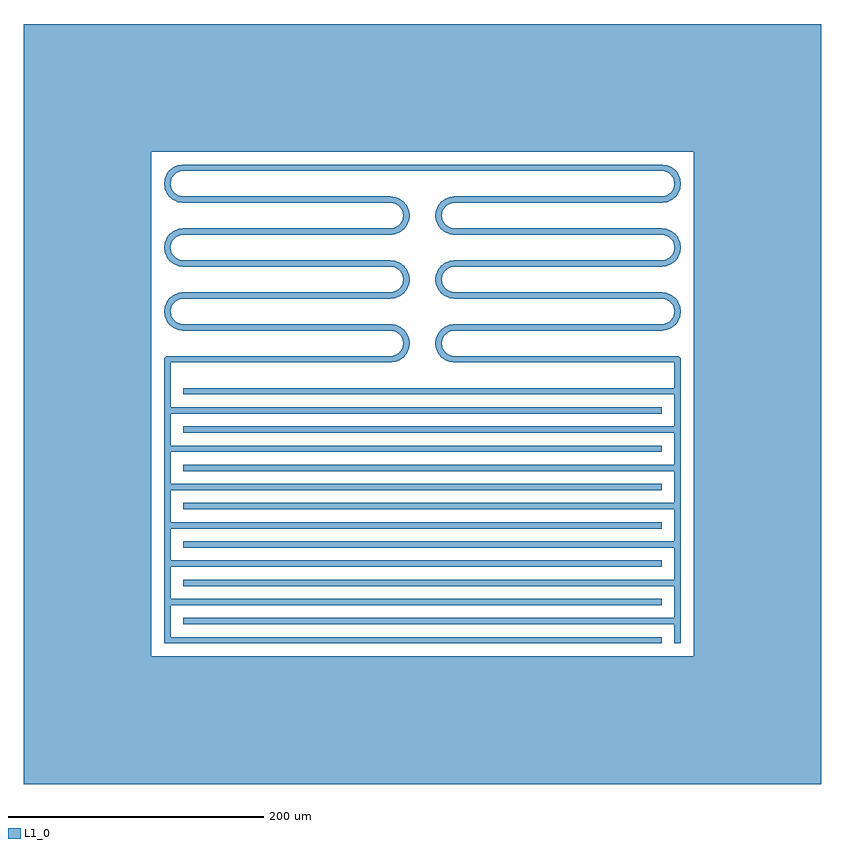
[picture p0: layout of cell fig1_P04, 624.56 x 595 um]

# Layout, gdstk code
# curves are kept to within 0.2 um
import gdstk
lib = gdstk.Library(unit=1e-6, precision=1e-09)
def R(c, l, rs):  # rectangles x0, y0, x1, y1
    for r in rs: c.add(gdstk.rectangle(r[:2], r[2:], *l))
def A(c, l, x, y, w, h, nx, ny, dx, dy):  # array of equal rectangles
    R(c, l, [(x+i*dx, y+j*dy, x+i*dx+w, y+j*dy+h) for i in range(nx) for j in range(ny)])
def P(c, l, *ps):  # polygons
    for p in ps: c.add(gdstk.Polygon(p, *l))
L1_0 = (1, 0)

fig1_p04 = lib.new_cell('fig1_P04')
A(fig1_p04, L1_0, -202.28, 0, 389.56, 5, 1, 7, 0, 30)
A(fig1_p04, L1_0, -187.28, 15, 389.56, 5, 1, 7, 0, 30)
A(fig1_p04, L1_0, -187.28, 245, 162.28, 5, 1, 5, 0, 25)
A(fig1_p04, L1_0, 25, 245, 162.28, 5, 1, 5, 0, 25)
R(fig1_p04, L1_0, [(-312.28,-110,312.28,-10), (-312.28,-10,-212.28,385), (212.28,-10,312.28,385), (-202.28,0,-197.28,200), (197.28,0,202.28,200), (-202.28,197.5,-197.28,222.5), (197.28,197.5,202.28,222.5), (-199.78,220,-25,225), (25,220,199.78,225), (-187.28,370,187.28,375), (-312.28,385,312.28,485)])
P(fig1_p04, L1_0, [(14.979,334.674),(10.021,335.326),(10.447,338.562),(15.405,337.909)],
  [(12.926,335.735),(11.158,336.467),(10.426,338.235),(11.158,340.003),(12.926,340.735),(14.694,340.003),(15.426,338.235),(14.694,336.467)],
  [(12.5,332.5),(10.732,333.232),(10,335),(10.732,336.768),(12.5,337.5),(14.268,336.768),(15,335),(14.268,333.232)],
  [(195.052,347.191),(192.008,351.158),(194.597,353.145),(197.641,349.178)],
  [(191.472,345.616),(189.559,350.236),(192.573,351.484),(194.487,346.865)],
  [(187.606,345.021),(186.954,349.979),(190.189,350.405),(190.842,345.447)],
  [(190.189,369.595),(186.954,370.021),(187.606,374.979),(190.842,374.553)],
  [(192.573,368.516),(189.559,369.764),(191.472,374.384),(194.487,373.135)],
  [(194.597,366.855),(192.008,368.842),(195.052,372.809),(197.641,370.822)],
  [(196.122,364.728),(194.135,367.317),(198.102,370.361),(200.089,367.772)],
  [(197.044,362.279),(195.796,365.293),(200.415,367.207),(201.664,364.192)],
  [(197.301,359.674),(196.875,362.909),(201.833,363.562),(202.259,360.326)],
  [(201.833,356.438),(196.875,357.091),(197.301,360.326),(202.259,359.674)],
  [(187.28,370),(185.512,370.732),(184.78,372.5),(185.512,374.268),(187.28,375),(189.048,374.268),(189.78,372.5),(189.048,370.732)],
  [(190.515,369.574),(188.747,370.306),(188.015,372.074),(188.747,373.842),(190.515,374.574),(192.283,373.842),(193.015,372.074),(192.283,370.306)],
  [(193.53,368.325),(191.762,369.058),(191.03,370.825),(191.762,372.593),(193.53,373.325),(195.298,372.593),(196.03,370.825),(195.298,369.058)],
  [(196.119,366.339),(194.351,367.071),(193.619,368.839),(194.351,370.607),(196.119,371.339),(197.887,370.607),(198.619,368.839),(197.887,367.071)],
  [(198.105,363.75),(196.338,364.482),(195.605,366.25),(196.338,368.018),(198.105,368.75),(199.873,368.018),(200.605,366.25),(199.873,364.482)],
  [(199.354,360.735),(197.586,361.467),(196.854,363.235),(197.586,365.003),(199.354,365.735),(201.122,365.003),(201.854,363.235),(201.122,361.467)],
  [(199.78,357.5),(198.012,358.232),(197.28,360),(198.012,361.768),(199.78,362.5),(201.548,361.768),(202.28,360),(201.548,358.232)],
  [(199.354,354.265),(197.586,354.997),(196.854,356.765),(197.586,358.533),(199.354,359.265),(201.122,358.533),(201.854,356.765),(201.122,354.997)],
  [(198.105,351.25),(196.338,351.982),(195.605,353.75),(196.338,355.518),(198.105,356.25),(199.873,355.518),(200.605,353.75),(199.873,351.982)],
  [(196.119,348.661),(194.351,349.393),(193.619,351.161),(194.351,352.929),(196.119,353.661),(197.887,352.929),(198.619,351.161),(197.887,349.393)],
  [(193.53,346.675),(191.762,347.407),(191.03,349.175),(191.762,350.942),(193.53,351.675),(195.298,350.942),(196.03,349.175),(195.298,347.407)],
  [(190.515,345.426),(188.747,346.158),(188.015,347.926),(188.747,349.694),(190.515,350.426),(192.283,349.694),(193.015,347.926),(192.283,346.158)],
  [(187.28,345),(185.512,345.732),(184.78,347.5),(185.512,349.268),(187.28,350),(189.048,349.268),(189.78,347.5),(189.048,345.732)],
  [(200.415,352.793),(195.796,354.707),(197.044,357.721),(201.664,355.808)],
  [(198.102,349.639),(194.135,352.683),(196.122,355.272),(200.089,352.228)],
  [(19.707,343.516),(17.793,348.135),(20.808,349.384),(22.721,344.764)],
  [(17.683,341.855),(14.639,345.822),(17.228,347.809),(20.272,343.842)],
  [(16.158,339.728),(12.191,342.772),(14.178,345.361),(18.145,342.317)],
  [(25,345),(23.232,345.732),(22.5,347.5),(23.232,349.268),(25,350),(26.768,349.268),(27.5,347.5),(26.768,345.732)],
  [(21.765,344.574),(19.997,345.306),(19.265,347.074),(19.997,348.842),(21.765,349.574),(23.533,348.842),(24.265,347.074),(23.533,345.306)],
  [(18.75,343.325),(16.982,344.058),(16.25,345.825),(16.982,347.593),(18.75,348.325),(20.518,347.593),(21.25,345.825),(20.518,344.058)],
  [(16.161,341.339),(14.393,342.071),(13.661,343.839),(14.393,345.607),(16.161,346.339),(17.929,345.607),(18.661,343.839),(17.929,342.071)],
  [(14.175,338.75),(12.407,339.482),(11.675,341.25),(12.407,343.018),(14.175,343.75),(15.942,343.018),(16.675,341.25),(15.942,339.482)],
  [(15.236,337.279),(10.616,339.192),(11.865,342.207),(16.484,340.293)],
  [(22.091,344.595),(21.438,349.553),(24.674,349.979),(25.326,345.021)],
  [(16.158,239.728),(12.191,242.772),(14.178,245.361),(18.145,242.317)],
  [(15.236,237.279),(10.616,239.192),(11.865,242.207),(16.484,240.293)],
  [(14.979,234.674),(10.021,235.326),(10.447,238.562),(15.405,237.909)],
  [(10.447,231.438),(10.021,234.674),(14.979,235.326),(15.405,232.091)],
  [(11.865,227.793),(10.616,230.808),(15.236,232.721),(16.484,229.707)],
  [(14.178,224.639),(12.191,227.228),(16.158,230.272),(18.145,227.683)],
  [(17.228,222.191),(14.639,224.178),(17.683,228.145),(20.272,226.158)],
  [(20.808,220.616),(17.793,221.865),(19.707,226.484),(22.721,225.236)],
  [(24.674,220.021),(21.438,220.447),(22.091,225.405),(25.326,224.979)],
  [(20.808,320.616),(17.793,321.865),(19.707,326.484),(22.721,325.236)],
  [(24.674,320.021),(21.438,320.447),(22.091,325.405),(25.326,324.979)],
  [(10.447,331.438),(10.021,334.674),(14.979,335.326),(15.405,332.091)],
  [(11.865,327.793),(10.616,330.808),(15.236,332.721),(16.484,329.707)],
  [(22.091,294.595),(21.438,299.553),(24.674,299.979),(25.326,295.021)],
  [(19.707,293.516),(17.793,298.135),(20.808,299.384),(22.721,294.764)],
  [(17.683,291.855),(14.639,295.822),(17.228,297.809),(20.272,293.842)],
  [(16.158,289.728),(12.191,292.772),(14.178,295.361),(18.145,292.317)],
  [(15.236,287.279),(10.616,289.192),(11.865,292.207),(16.484,290.293)],
  [(14.979,284.674),(10.021,285.326),(10.447,288.562),(15.405,287.909)],
  [(10.447,281.438),(10.021,284.674),(14.979,285.326),(15.405,282.091)],
  [(11.865,277.793),(10.616,280.808),(15.236,282.721),(16.484,279.707)],
  [(14.178,274.639),(12.191,277.228),(16.158,280.272),(18.145,277.683)],
  [(17.228,272.191),(14.639,274.178),(17.683,278.145),(20.272,276.158)],
  [(20.808,270.616),(17.793,271.865),(19.707,276.484),(22.721,275.236)],
  [(24.674,270.021),(21.438,270.447),(22.091,275.405),(25.326,274.979)],
  [(14.178,324.639),(12.191,327.228),(16.158,330.272),(18.145,327.683)],
  [(17.228,322.191),(14.639,324.178),(17.683,328.145),(20.272,326.158)],
  [(22.091,244.595),(21.438,249.553),(24.674,249.979),(25.326,245.021)],
  [(19.707,243.516),(17.793,248.135),(20.808,249.384),(22.721,244.764)],
  [(17.683,241.855),(14.639,245.822),(17.228,247.809),(20.272,243.842)],
  [(12.926,329.265),(11.158,329.997),(10.426,331.765),(11.158,333.533),(12.926,334.265),(14.694,333.533),(15.426,331.765),(14.694,329.997)],
  [(14.175,326.25),(12.407,326.982),(11.675,328.75),(12.407,330.518),(14.175,331.25),(15.942,330.518),(16.675,328.75),(15.942,326.982)],
  [(16.161,323.661),(14.393,324.393),(13.661,326.161),(14.393,327.929),(16.161,328.661),(17.929,327.929),(18.661,326.161),(17.929,324.393)],
  [(18.75,321.675),(16.982,322.407),(16.25,324.175),(16.982,325.942),(18.75,326.675),(20.518,325.942),(21.25,324.175),(20.518,322.407)],
  [(21.765,320.426),(19.997,321.158),(19.265,322.926),(19.997,324.694),(21.765,325.426),(23.533,324.694),(24.265,322.926),(23.533,321.158)],
  [(25,320),(23.232,320.732),(22.5,322.5),(23.232,324.268),(25,325),(26.768,324.268),(27.5,322.5),(26.768,320.732)],
  [(25,295),(23.232,295.732),(22.5,297.5),(23.232,299.268),(25,300),(26.768,299.268),(27.5,297.5),(26.768,295.732)],
  [(21.765,294.574),(19.997,295.306),(19.265,297.074),(19.997,298.842),(21.765,299.574),(23.533,298.842),(24.265,297.074),(23.533,295.306)],
  [(18.75,293.325),(16.982,294.058),(16.25,295.825),(16.982,297.593),(18.75,298.325),(20.518,297.593),(21.25,295.825),(20.518,294.058)],
  [(16.161,291.339),(14.393,292.071),(13.661,293.839),(14.393,295.607),(16.161,296.339),(17.929,295.607),(18.661,293.839),(17.929,292.071)],
  [(14.175,288.75),(12.407,289.482),(11.675,291.25),(12.407,293.018),(14.175,293.75),(15.942,293.018),(16.675,291.25),(15.942,289.482)],
  [(12.926,285.735),(11.158,286.467),(10.426,288.235),(11.158,290.003),(12.926,290.735),(14.694,290.003),(15.426,288.235),(14.694,286.467)],
  [(12.5,282.5),(10.732,283.232),(10,285),(10.732,286.768),(12.5,287.5),(14.268,286.768),(15,285),(14.268,283.232)],
  [(12.926,279.265),(11.158,279.997),(10.426,281.765),(11.158,283.533),(12.926,284.265),(14.694,283.533),(15.426,281.765),(14.694,279.997)],
  [(14.175,276.25),(12.407,276.982),(11.675,278.75),(12.407,280.518),(14.175,281.25),(15.942,280.518),(16.675,278.75),(15.942,276.982)],
  [(16.161,273.661),(14.393,274.393),(13.661,276.161),(14.393,277.929),(16.161,278.661),(17.929,277.929),(18.661,276.161),(17.929,274.393)],
  [(18.75,271.675),(16.982,272.407),(16.25,274.175),(16.982,275.942),(18.75,276.675),(20.518,275.942),(21.25,274.175),(20.518,272.407)],
  [(21.765,270.426),(19.997,271.158),(19.265,272.926),(19.997,274.694),(21.765,275.426),(23.533,274.694),(24.265,272.926),(23.533,271.158)],
  [(25,270),(23.232,270.732),(22.5,272.5),(23.232,274.268),(25,275),(26.768,274.268),(27.5,272.5),(26.768,270.732)],
  [(25,245),(23.232,245.732),(22.5,247.5),(23.232,249.268),(25,250),(26.768,249.268),(27.5,247.5),(26.768,245.732)],
  [(21.765,244.574),(19.997,245.306),(19.265,247.074),(19.997,248.842),(21.765,249.574),(23.533,248.842),(24.265,247.074),(23.533,245.306)],
  [(18.75,243.325),(16.982,244.058),(16.25,245.825),(16.982,247.593),(18.75,248.325),(20.518,247.593),(21.25,245.825),(20.518,244.058)],
  [(16.161,241.339),(14.393,242.071),(13.661,243.839),(14.393,245.607),(16.161,246.339),(17.929,245.607),(18.661,243.839),(17.929,242.071)],
  [(14.175,238.75),(12.407,239.482),(11.675,241.25),(12.407,243.018),(14.175,243.75),(15.942,243.018),(16.675,241.25),(15.942,239.482)],
  [(12.926,235.735),(11.158,236.467),(10.426,238.235),(11.158,240.003),(12.926,240.735),(14.694,240.003),(15.426,238.235),(14.694,236.467)],
  [(12.5,232.5),(10.732,233.232),(10,235),(10.732,236.768),(12.5,237.5),(14.268,236.768),(15,235),(14.268,233.232)],
  [(12.926,229.265),(11.158,229.997),(10.426,231.765),(11.158,233.533),(12.926,234.265),(14.694,233.533),(15.426,231.765),(14.694,229.997)],
  [(14.175,226.25),(12.407,226.982),(11.675,228.75),(12.407,230.518),(14.175,231.25),(15.942,230.518),(16.675,228.75),(15.942,226.982)],
  [(16.161,223.661),(14.393,224.393),(13.661,226.161),(14.393,227.929),(16.161,228.661),(17.929,227.929),(18.661,226.161),(17.929,224.393)],
  [(18.75,221.675),(16.982,222.407),(16.25,224.175),(16.982,225.942),(18.75,226.675),(20.518,225.942),(21.25,224.175),(20.518,222.407)],
  [(21.765,220.426),(19.997,221.158),(19.265,222.926),(19.997,224.694),(21.765,225.426),(23.533,224.694),(24.265,222.926),(23.533,221.158)],
  [(25,220),(23.232,220.732),(22.5,222.5),(23.232,224.268),(25,225),(26.768,224.268),(27.5,222.5),(26.768,220.732)],
  [(190.515,319.574),(188.747,320.306),(188.015,322.074),(188.747,323.842),(190.515,324.574),(192.283,323.842),(193.015,322.074),(192.283,320.306)],
  [(193.53,318.325),(191.762,319.058),(191.03,320.825),(191.762,322.593),(193.53,323.325),(195.298,322.593),(196.03,320.825),(195.298,319.058)],
  [(196.119,316.339),(194.351,317.071),(193.619,318.839),(194.351,320.607),(196.119,321.339),(197.887,320.607),(198.619,318.839),(197.887,317.071)],
  [(198.105,313.75),(196.338,314.482),(195.605,316.25),(196.338,318.018),(198.105,318.75),(199.873,318.018),(200.605,316.25),(199.873,314.482)],
  [(199.354,310.735),(197.586,311.467),(196.854,313.235),(197.586,315.003),(199.354,315.735),(201.122,315.003),(201.854,313.235),(201.122,311.467)],
  [(199.78,307.5),(198.012,308.232),(197.28,310),(198.012,311.768),(199.78,312.5),(201.548,311.768),(202.28,310),(201.548,308.232)],
  [(199.354,304.265),(197.586,304.997),(196.854,306.765),(197.586,308.533),(199.354,309.265),(201.122,308.533),(201.854,306.765),(201.122,304.997)],
  [(198.105,301.25),(196.338,301.982),(195.605,303.75),(196.338,305.518),(198.105,306.25),(199.873,305.518),(200.605,303.75),(199.873,301.982)],
  [(196.119,298.661),(194.351,299.393),(193.619,301.161),(194.351,302.929),(196.119,303.661),(197.887,302.929),(198.619,301.161),(197.887,299.393)],
  [(193.53,296.675),(191.762,297.407),(191.03,299.175),(191.762,300.942),(193.53,301.675),(195.298,300.942),(196.03,299.175),(195.298,297.407)],
  [(190.515,295.426),(188.747,296.158),(188.015,297.926),(188.747,299.694),(190.515,300.426),(192.283,299.694),(193.015,297.926),(192.283,296.158)],
  [(187.28,295),(185.512,295.732),(184.78,297.5),(185.512,299.268),(187.28,300),(189.048,299.268),(189.78,297.5),(189.048,295.732)],
  [(194.597,266.855),(192.008,268.842),(195.052,272.809),(197.641,270.822)],
  [(196.122,264.728),(194.135,267.317),(198.102,270.361),(200.089,267.772)],
  [(197.044,262.279),(195.796,265.293),(200.415,267.207),(201.664,264.192)],
  [(197.301,259.674),(196.875,262.909),(201.833,263.562),(202.259,260.326)],
  [(201.833,256.438),(196.875,257.091),(197.301,260.326),(202.259,259.674)],
  [(200.415,252.793),(195.796,254.707),(197.044,257.721),(201.664,255.808)],
  [(198.102,249.639),(194.135,252.683),(196.122,255.272),(200.089,252.228)],
  [(195.052,247.191),(192.008,251.158),(194.597,253.145),(197.641,249.178)],
  [(191.472,245.616),(189.559,250.236),(192.573,251.484),(194.487,246.865)],
  [(187.606,245.021),(186.954,249.979),(190.189,250.405),(190.842,245.447)],
  [(190.189,319.595),(186.954,320.021),(187.606,324.979),(190.842,324.553)],
  [(192.573,318.516),(189.559,319.764),(191.472,324.384),(194.487,323.135)],
  [(194.597,316.855),(192.008,318.842),(195.052,322.809),(197.641,320.822)],
  [(187.28,270),(185.512,270.732),(184.78,272.5),(185.512,274.268),(187.28,275),(189.048,274.268),(189.78,272.5),(189.048,270.732)],
  [(190.515,269.574),(188.747,270.306),(188.015,272.074),(188.747,273.842),(190.515,274.574),(192.283,273.842),(193.015,272.074),(192.283,270.306)],
  [(193.53,268.325),(191.762,269.058),(191.03,270.825),(191.762,272.593),(193.53,273.325),(195.298,272.593),(196.03,270.825),(195.298,269.058)],
  [(196.119,266.339),(194.351,267.071),(193.619,268.839),(194.351,270.607),(196.119,271.339),(197.887,270.607),(198.619,268.839),(197.887,267.071)],
  [(198.105,263.75),(196.338,264.482),(195.605,266.25),(196.338,268.018),(198.105,268.75),(199.873,268.018),(200.605,266.25),(199.873,264.482)],
  [(199.354,260.735),(197.586,261.467),(196.854,263.235),(197.586,265.003),(199.354,265.735),(201.122,265.003),(201.854,263.235),(201.122,261.467)],
  [(199.78,257.5),(198.012,258.232),(197.28,260),(198.012,261.768),(199.78,262.5),(201.548,261.768),(202.28,260),(201.548,258.232)],
  [(199.354,254.265),(197.586,254.997),(196.854,256.765),(197.586,258.533),(199.354,259.265),(201.122,258.533),(201.854,256.765),(201.122,254.997)],
  [(198.105,251.25),(196.338,251.982),(195.605,253.75),(196.338,255.518),(198.105,256.25),(199.873,255.518),(200.605,253.75),(199.873,251.982)],
  [(196.119,248.661),(194.351,249.393),(193.619,251.161),(194.351,252.929),(196.119,253.661),(197.887,252.929),(198.619,251.161),(197.887,249.393)],
  [(193.53,246.675),(191.762,247.407),(191.03,249.175),(191.762,250.942),(193.53,251.675),(195.298,250.942),(196.03,249.175),(195.298,247.407)],
  [(190.515,245.426),(188.747,246.158),(188.015,247.926),(188.747,249.694),(190.515,250.426),(192.283,249.694),(193.015,247.926),(192.283,246.158)],
  [(187.28,245),(185.512,245.732),(184.78,247.5),(185.512,249.268),(187.28,250),(189.048,249.268),(189.78,247.5),(189.048,245.732)],
  [(196.122,314.728),(194.135,317.317),(198.102,320.361),(200.089,317.772)],
  [(197.044,312.279),(195.796,315.293),(200.415,317.207),(201.664,314.192)],
  [(197.301,309.674),(196.875,312.909),(201.833,313.562),(202.259,310.326)],
  [(201.833,306.438),(196.875,307.091),(197.301,310.326),(202.259,309.674)],
  [(200.415,302.793),(195.796,304.707),(197.044,307.721),(201.664,305.808)],
  [(198.102,299.639),(194.135,302.683),(196.122,305.272),(200.089,302.228)],
  [(195.052,297.191),(192.008,301.158),(194.597,303.145),(197.641,299.178)],
  [(191.472,295.616),(189.559,300.236),(192.573,301.484),(194.487,296.865)],
  [(187.606,295.021),(186.954,299.979),(190.189,300.405),(190.842,295.447)],
  [(190.189,269.595),(186.954,270.021),(187.606,274.979),(190.842,274.553)],
  [(192.573,268.516),(189.559,269.764),(191.472,274.384),(194.487,273.135)],
  [(187.28,320),(185.512,320.732),(184.78,322.5),(185.512,324.268),(187.28,325),(189.048,324.268),(189.78,322.5),(189.048,320.732)],
  [(199.78,220),(198.012,220.732),(197.28,222.5),(198.012,224.268),(199.78,225),(201.548,224.268),(202.28,222.5),(201.548,220.732)],
  [(-12.5,332.5),(-14.268,333.232),(-15,335),(-14.268,336.768),(-12.5,337.5),(-10.732,336.768),(-10,335),(-10.732,333.232)],
  [(-12.926,335.735),(-14.694,336.467),(-15.426,338.235),(-14.694,340.003),(-12.926,340.735),(-11.158,340.003),(-10.426,338.235),(-11.158,336.467)],
  [(-14.979,334.674),(-15.405,337.909),(-10.447,338.562),(-10.021,335.326)],
  [(-18.75,343.325),(-20.518,344.058),(-21.25,345.825),(-20.518,347.593),(-18.75,348.325),(-16.982,347.593),(-16.25,345.825),(-16.982,344.058)],
  [(-21.765,344.574),(-23.533,345.306),(-24.265,347.074),(-23.533,348.842),(-21.765,349.574),(-19.997,348.842),(-19.265,347.074),(-19.997,345.306)],
  [(-25,345),(-26.768,345.732),(-27.5,347.5),(-26.768,349.268),(-25,350),(-23.232,349.268),(-22.5,347.5),(-23.232,345.732)],
  [(-14.175,338.75),(-15.942,339.482),(-16.675,341.25),(-15.942,343.018),(-14.175,343.75),(-12.407,343.018),(-11.675,341.25),(-12.407,339.482)],
  [(-15.236,337.279),(-16.484,340.293),(-11.865,342.207),(-10.616,339.192)],
  [(-16.158,339.728),(-18.145,342.317),(-14.178,345.361),(-12.191,342.772)],
  [(-17.683,341.855),(-20.272,343.842),(-17.228,347.809),(-14.639,345.822)],
  [(-19.707,343.516),(-22.721,344.764),(-20.808,349.384),(-17.793,348.135)],
  [(-22.091,344.595),(-25.326,345.021),(-24.674,349.979),(-21.438,349.553)],
  [(-16.161,341.339),(-17.929,342.071),(-18.661,343.839),(-17.929,345.607),(-16.161,346.339),(-14.393,345.607),(-13.661,343.839),(-14.393,342.071)],
  [(-187.28,370),(-189.048,370.732),(-189.78,372.5),(-189.048,374.268),(-187.28,375),(-185.512,374.268),(-184.78,372.5),(-185.512,370.732)],
  [(-187.28,345),(-189.048,345.732),(-189.78,347.5),(-189.048,349.268),(-187.28,350),(-185.512,349.268),(-184.78,347.5),(-185.512,345.732)],
  [(-190.515,345.426),(-192.283,346.158),(-193.015,347.926),(-192.283,349.694),(-190.515,350.426),(-188.747,349.694),(-188.015,347.926),(-188.747,346.158)],
  [(-193.53,346.675),(-195.298,347.407),(-196.03,349.175),(-195.298,350.942),(-193.53,351.675),(-191.762,350.942),(-191.03,349.175),(-191.762,347.407)],
  [(-196.119,348.661),(-197.887,349.393),(-198.619,351.161),(-197.887,352.929),(-196.119,353.661),(-194.351,352.929),(-193.619,351.161),(-194.351,349.393)],
  [(-198.105,351.25),(-199.873,351.982),(-200.605,353.75),(-199.873,355.518),(-198.105,356.25),(-196.338,355.518),(-195.605,353.75),(-196.338,351.982)],
  [(-199.354,354.265),(-201.122,354.997),(-201.854,356.765),(-201.122,358.533),(-199.354,359.265),(-197.586,358.533),(-196.854,356.765),(-197.586,354.997)],
  [(-199.78,357.5),(-201.548,358.232),(-202.28,360),(-201.548,361.768),(-199.78,362.5),(-198.012,361.768),(-197.28,360),(-198.012,358.232)],
  [(-199.354,360.735),(-201.122,361.467),(-201.854,363.235),(-201.122,365.003),(-199.354,365.735),(-197.586,365.003),(-196.854,363.235),(-197.586,361.467)],
  [(-198.105,363.75),(-199.873,364.482),(-200.605,366.25),(-199.873,368.018),(-198.105,368.75),(-196.338,368.018),(-195.605,366.25),(-196.338,364.482)],
  [(-196.119,366.339),(-197.887,367.071),(-198.619,368.839),(-197.887,370.607),(-196.119,371.339),(-194.351,370.607),(-193.619,368.839),(-194.351,367.071)],
  [(-193.53,368.325),(-195.298,369.058),(-196.03,370.825),(-195.298,372.593),(-193.53,373.325),(-191.762,372.593),(-191.03,370.825),(-191.762,369.058)],
  [(-190.515,369.574),(-192.283,370.306),(-193.015,372.074),(-192.283,373.842),(-190.515,374.574),(-188.747,373.842),(-188.015,372.074),(-188.747,370.306)],
  [(-187.606,345.021),(-190.842,345.447),(-190.189,350.405),(-186.954,349.979)],
  [(-191.472,345.616),(-194.487,346.865),(-192.573,351.484),(-189.559,350.236)],
  [(-195.052,347.191),(-197.641,349.178),(-194.597,353.145),(-192.008,351.158)],
  [(-198.102,349.639),(-200.089,352.228),(-196.122,355.272),(-194.135,352.683)],
  [(-200.415,352.793),(-201.664,355.808),(-197.044,357.721),(-195.796,354.707)],
  [(-201.833,356.438),(-202.259,359.674),(-197.301,360.326),(-196.875,357.091)],
  [(-197.301,359.674),(-202.259,360.326),(-201.833,363.562),(-196.875,362.909)],
  [(-197.044,362.279),(-201.664,364.192),(-200.415,367.207),(-195.796,365.293)],
  [(-196.122,364.728),(-200.089,367.772),(-198.102,370.361),(-194.135,367.317)],
  [(-194.597,366.855),(-197.641,370.822),(-195.052,372.809),(-192.008,368.842)],
  [(-192.573,368.516),(-194.487,373.135),(-191.472,374.384),(-189.559,369.764)],
  [(-190.189,369.595),(-190.842,374.553),(-187.606,374.979),(-186.954,370.021)],
  [(-196.119,298.661),(-197.887,299.393),(-198.619,301.161),(-197.887,302.929),(-196.119,303.661),(-194.351,302.929),(-193.619,301.161),(-194.351,299.393)],
  [(-198.105,301.25),(-199.873,301.982),(-200.605,303.75),(-199.873,305.518),(-198.105,306.25),(-196.338,305.518),(-195.605,303.75),(-196.338,301.982)],
  [(-199.354,304.265),(-201.122,304.997),(-201.854,306.765),(-201.122,308.533),(-199.354,309.265),(-197.586,308.533),(-196.854,306.765),(-197.586,304.997)],
  [(-199.78,307.5),(-201.548,308.232),(-202.28,310),(-201.548,311.768),(-199.78,312.5),(-198.012,311.768),(-197.28,310),(-198.012,308.232)],
  [(-199.354,310.735),(-201.122,311.467),(-201.854,313.235),(-201.122,315.003),(-199.354,315.735),(-197.586,315.003),(-196.854,313.235),(-197.586,311.467)],
  [(-187.606,245.021),(-190.842,245.447),(-190.189,250.405),(-186.954,249.979)],
  [(-191.472,245.616),(-194.487,246.865),(-192.573,251.484),(-189.559,250.236)],
  [(-195.052,247.191),(-197.641,249.178),(-194.597,253.145),(-192.008,251.158)],
  [(-198.102,249.639),(-200.089,252.228),(-196.122,255.272),(-194.135,252.683)],
  [(-200.415,252.793),(-201.664,255.808),(-197.044,257.721),(-195.796,254.707)],
  [(-201.833,256.438),(-202.259,259.674),(-197.301,260.326),(-196.875,257.091)],
  [(-197.301,259.674),(-202.259,260.326),(-201.833,263.562),(-196.875,262.909)],
  [(-197.044,262.279),(-201.664,264.192),(-200.415,267.207),(-195.796,265.293)],
  [(-196.122,264.728),(-200.089,267.772),(-198.102,270.361),(-194.135,267.317)],
  [(-194.597,266.855),(-197.641,270.822),(-195.052,272.809),(-192.008,268.842)],
  [(-192.573,268.516),(-194.487,273.135),(-191.472,274.384),(-189.559,269.764)],
  [(-190.189,269.595),(-190.842,274.553),(-187.606,274.979),(-186.954,270.021)],
  [(-198.105,313.75),(-199.873,314.482),(-200.605,316.25),(-199.873,318.018),(-198.105,318.75),(-196.338,318.018),(-195.605,316.25),(-196.338,314.482)],
  [(-196.119,316.339),(-197.887,317.071),(-198.619,318.839),(-197.887,320.607),(-196.119,321.339),(-194.351,320.607),(-193.619,318.839),(-194.351,317.071)],
  [(-187.606,295.021),(-190.842,295.447),(-190.189,300.405),(-186.954,299.979)],
  [(-191.472,295.616),(-194.487,296.865),(-192.573,301.484),(-189.559,300.236)],
  [(-195.052,297.191),(-197.641,299.178),(-194.597,303.145),(-192.008,301.158)],
  [(-198.102,299.639),(-200.089,302.228),(-196.122,305.272),(-194.135,302.683)],
  [(-200.415,302.793),(-201.664,305.808),(-197.044,307.721),(-195.796,304.707)],
  [(-201.833,306.438),(-202.259,309.674),(-197.301,310.326),(-196.875,307.091)],
  [(-197.301,309.674),(-202.259,310.326),(-201.833,313.562),(-196.875,312.909)],
  [(-197.044,312.279),(-201.664,314.192),(-200.415,317.207),(-195.796,315.293)],
  [(-196.122,314.728),(-200.089,317.772),(-198.102,320.361),(-194.135,317.317)],
  [(-194.597,316.855),(-197.641,320.822),(-195.052,322.809),(-192.008,318.842)],
  [(-192.573,318.516),(-194.487,323.135),(-191.472,324.384),(-189.559,319.764)],
  [(-190.189,319.595),(-190.842,324.553),(-187.606,324.979),(-186.954,320.021)],
  [(-193.53,318.325),(-195.298,319.058),(-196.03,320.825),(-195.298,322.593),(-193.53,323.325),(-191.762,322.593),(-191.03,320.825),(-191.762,319.058)],
  [(-190.515,319.574),(-192.283,320.306),(-193.015,322.074),(-192.283,323.842),(-190.515,324.574),(-188.747,323.842),(-188.015,322.074),(-188.747,320.306)],
  [(-187.28,320),(-189.048,320.732),(-189.78,322.5),(-189.048,324.268),(-187.28,325),(-185.512,324.268),(-184.78,322.5),(-185.512,320.732)],
  [(-199.78,220),(-201.548,220.732),(-202.28,222.5),(-201.548,224.268),(-199.78,225),(-198.012,224.268),(-197.28,222.5),(-198.012,220.732)],
  [(-187.28,245),(-189.048,245.732),(-189.78,247.5),(-189.048,249.268),(-187.28,250),(-185.512,249.268),(-184.78,247.5),(-185.512,245.732)],
  [(-190.515,245.426),(-192.283,246.158),(-193.015,247.926),(-192.283,249.694),(-190.515,250.426),(-188.747,249.694),(-188.015,247.926),(-188.747,246.158)],
  [(-193.53,246.675),(-195.298,247.407),(-196.03,249.175),(-195.298,250.942),(-193.53,251.675),(-191.762,250.942),(-191.03,249.175),(-191.762,247.407)],
  [(-196.119,248.661),(-197.887,249.393),(-198.619,251.161),(-197.887,252.929),(-196.119,253.661),(-194.351,252.929),(-193.619,251.161),(-194.351,249.393)],
  [(-198.105,251.25),(-199.873,251.982),(-200.605,253.75),(-199.873,255.518),(-198.105,256.25),(-196.338,255.518),(-195.605,253.75),(-196.338,251.982)],
  [(-199.354,254.265),(-201.122,254.997),(-201.854,256.765),(-201.122,258.533),(-199.354,259.265),(-197.586,258.533),(-196.854,256.765),(-197.586,254.997)],
  [(-199.78,257.5),(-201.548,258.232),(-202.28,260),(-201.548,261.768),(-199.78,262.5),(-198.012,261.768),(-197.28,260),(-198.012,258.232)],
  [(-199.354,260.735),(-201.122,261.467),(-201.854,263.235),(-201.122,265.003),(-199.354,265.735),(-197.586,265.003),(-196.854,263.235),(-197.586,261.467)],
  [(-198.105,263.75),(-199.873,264.482),(-200.605,266.25),(-199.873,268.018),(-198.105,268.75),(-196.338,268.018),(-195.605,266.25),(-196.338,264.482)],
  [(-196.119,266.339),(-197.887,267.071),(-198.619,268.839),(-197.887,270.607),(-196.119,271.339),(-194.351,270.607),(-193.619,268.839),(-194.351,267.071)],
  [(-193.53,268.325),(-195.298,269.058),(-196.03,270.825),(-195.298,272.593),(-193.53,273.325),(-191.762,272.593),(-191.03,270.825),(-191.762,269.058)],
  [(-190.515,269.574),(-192.283,270.306),(-193.015,272.074),(-192.283,273.842),(-190.515,274.574),(-188.747,273.842),(-188.015,272.074),(-188.747,270.306)],
  [(-187.28,270),(-189.048,270.732),(-189.78,272.5),(-189.048,274.268),(-187.28,275),(-185.512,274.268),(-184.78,272.5),(-185.512,270.732)],
  [(-187.28,295),(-189.048,295.732),(-189.78,297.5),(-189.048,299.268),(-187.28,300),(-185.512,299.268),(-184.78,297.5),(-185.512,295.732)],
  [(-190.515,295.426),(-192.283,296.158),(-193.015,297.926),(-192.283,299.694),(-190.515,300.426),(-188.747,299.694),(-188.015,297.926),(-188.747,296.158)],
  [(-193.53,296.675),(-195.298,297.407),(-196.03,299.175),(-195.298,300.942),(-193.53,301.675),(-191.762,300.942),(-191.03,299.175),(-191.762,297.407)],
  [(-25,245),(-26.768,245.732),(-27.5,247.5),(-26.768,249.268),(-25,250),(-23.232,249.268),(-22.5,247.5),(-23.232,245.732)],
  [(-25,320),(-26.768,320.732),(-27.5,322.5),(-26.768,324.268),(-25,325),(-23.232,324.268),(-22.5,322.5),(-23.232,320.732)],
  [(-21.765,320.426),(-23.533,321.158),(-24.265,322.926),(-23.533,324.694),(-21.765,325.426),(-19.997,324.694),(-19.265,322.926),(-19.997,321.158)],
  [(-18.75,321.675),(-20.518,322.407),(-21.25,324.175),(-20.518,325.942),(-18.75,326.675),(-16.982,325.942),(-16.25,324.175),(-16.982,322.407)],
  [(-16.161,323.661),(-17.929,324.393),(-18.661,326.161),(-17.929,327.929),(-16.161,328.661),(-14.393,327.929),(-13.661,326.161),(-14.393,324.393)],
  [(-14.175,326.25),(-15.942,326.982),(-16.675,328.75),(-15.942,330.518),(-14.175,331.25),(-12.407,330.518),(-11.675,328.75),(-12.407,326.982)],
  [(-12.926,329.265),(-14.694,329.997),(-15.426,331.765),(-14.694,333.533),(-12.926,334.265),(-11.158,333.533),(-10.426,331.765),(-11.158,329.997)],
  [(-25,270),(-26.768,270.732),(-27.5,272.5),(-26.768,274.268),(-25,275),(-23.232,274.268),(-22.5,272.5),(-23.232,270.732)],
  [(-21.765,270.426),(-23.533,271.158),(-24.265,272.926),(-23.533,274.694),(-21.765,275.426),(-19.997,274.694),(-19.265,272.926),(-19.997,271.158)],
  [(-18.75,271.675),(-20.518,272.407),(-21.25,274.175),(-20.518,275.942),(-18.75,276.675),(-16.982,275.942),(-16.25,274.175),(-16.982,272.407)],
  [(-16.161,273.661),(-17.929,274.393),(-18.661,276.161),(-17.929,277.929),(-16.161,278.661),(-14.393,277.929),(-13.661,276.161),(-14.393,274.393)],
  [(-24.674,270.021),(-25.326,274.979),(-22.091,275.405),(-21.438,270.447)],
  [(-20.808,270.616),(-22.721,275.236),(-19.707,276.484),(-17.793,271.865)],
  [(-17.228,272.191),(-20.272,276.158),(-17.683,278.145),(-14.639,274.178)],
  [(-14.178,274.639),(-18.145,277.683),(-16.158,280.272),(-12.191,277.228)],
  [(-11.865,277.793),(-16.484,279.707),(-15.236,282.721),(-10.616,280.808)],
  [(-10.447,281.438),(-15.405,282.091),(-14.979,285.326),(-10.021,284.674)],
  [(-14.979,284.674),(-15.405,287.909),(-10.447,288.562),(-10.021,285.326)],
  [(-15.236,287.279),(-16.484,290.293),(-11.865,292.207),(-10.616,289.192)],
  [(-16.158,289.728),(-18.145,292.317),(-14.178,295.361),(-12.191,292.772)],
  [(-17.683,291.855),(-20.272,293.842),(-17.228,297.809),(-14.639,295.822)],
  [(-19.707,293.516),(-22.721,294.764),(-20.808,299.384),(-17.793,298.135)],
  [(-22.091,294.595),(-25.326,295.021),(-24.674,299.979),(-21.438,299.553)],
  [(-14.175,276.25),(-15.942,276.982),(-16.675,278.75),(-15.942,280.518),(-14.175,281.25),(-12.407,280.518),(-11.675,278.75),(-12.407,276.982)],
  [(-12.926,279.265),(-14.694,279.997),(-15.426,281.765),(-14.694,283.533),(-12.926,284.265),(-11.158,283.533),(-10.426,281.765),(-11.158,279.997)],
  [(-12.5,282.5),(-14.268,283.232),(-15,285),(-14.268,286.768),(-12.5,287.5),(-10.732,286.768),(-10,285),(-10.732,283.232)],
  [(-12.926,285.735),(-14.694,286.467),(-15.426,288.235),(-14.694,290.003),(-12.926,290.735),(-11.158,290.003),(-10.426,288.235),(-11.158,286.467)],
  [(-14.175,288.75),(-15.942,289.482),(-16.675,291.25),(-15.942,293.018),(-14.175,293.75),(-12.407,293.018),(-11.675,291.25),(-12.407,289.482)],
  [(-16.161,291.339),(-17.929,292.071),(-18.661,293.839),(-17.929,295.607),(-16.161,296.339),(-14.393,295.607),(-13.661,293.839),(-14.393,292.071)],
  [(-18.75,293.325),(-20.518,294.058),(-21.25,295.825),(-20.518,297.593),(-18.75,298.325),(-16.982,297.593),(-16.25,295.825),(-16.982,294.058)],
  [(-21.765,294.574),(-23.533,295.306),(-24.265,297.074),(-23.533,298.842),(-21.765,299.574),(-19.997,298.842),(-19.265,297.074),(-19.997,295.306)],
  [(-25,295),(-26.768,295.732),(-27.5,297.5),(-26.768,299.268),(-25,300),(-23.232,299.268),(-22.5,297.5),(-23.232,295.732)],
  [(-25,220),(-26.768,220.732),(-27.5,222.5),(-26.768,224.268),(-25,225),(-23.232,224.268),(-22.5,222.5),(-23.232,220.732)],
  [(-21.765,220.426),(-23.533,221.158),(-24.265,222.926),(-23.533,224.694),(-21.765,225.426),(-19.997,224.694),(-19.265,222.926),(-19.997,221.158)],
  [(-18.75,221.675),(-20.518,222.407),(-21.25,224.175),(-20.518,225.942),(-18.75,226.675),(-16.982,225.942),(-16.25,224.175),(-16.982,222.407)],
  [(-16.161,223.661),(-17.929,224.393),(-18.661,226.161),(-17.929,227.929),(-16.161,228.661),(-14.393,227.929),(-13.661,226.161),(-14.393,224.393)],
  [(-14.175,226.25),(-15.942,226.982),(-16.675,228.75),(-15.942,230.518),(-14.175,231.25),(-12.407,230.518),(-11.675,228.75),(-12.407,226.982)],
  [(-24.674,320.021),(-25.326,324.979),(-22.091,325.405),(-21.438,320.447)],
  [(-20.808,320.616),(-22.721,325.236),(-19.707,326.484),(-17.793,321.865)],
  [(-17.228,322.191),(-20.272,326.158),(-17.683,328.145),(-14.639,324.178)],
  [(-14.178,324.639),(-18.145,327.683),(-16.158,330.272),(-12.191,327.228)],
  [(-11.865,327.793),(-16.484,329.707),(-15.236,332.721),(-10.616,330.808)],
  [(-10.447,331.438),(-15.405,332.091),(-14.979,335.326),(-10.021,334.674)],
  [(-12.926,229.265),(-14.694,229.997),(-15.426,231.765),(-14.694,233.533),(-12.926,234.265),(-11.158,233.533),(-10.426,231.765),(-11.158,229.997)],
  [(-12.5,232.5),(-14.268,233.232),(-15,235),(-14.268,236.768),(-12.5,237.5),(-10.732,236.768),(-10,235),(-10.732,233.232)],
  [(-12.926,235.735),(-14.694,236.467),(-15.426,238.235),(-14.694,240.003),(-12.926,240.735),(-11.158,240.003),(-10.426,238.235),(-11.158,236.467)],
  [(-14.175,238.75),(-15.942,239.482),(-16.675,241.25),(-15.942,243.018),(-14.175,243.75),(-12.407,243.018),(-11.675,241.25),(-12.407,239.482)],
  [(-24.674,220.021),(-25.326,224.979),(-22.091,225.405),(-21.438,220.447)],
  [(-20.808,220.616),(-22.721,225.236),(-19.707,226.484),(-17.793,221.865)],
  [(-17.228,222.191),(-20.272,226.158),(-17.683,228.145),(-14.639,224.178)],
  [(-14.178,224.639),(-18.145,227.683),(-16.158,230.272),(-12.191,227.228)],
  [(-11.865,227.793),(-16.484,229.707),(-15.236,232.721),(-10.616,230.808)],
  [(-10.447,231.438),(-15.405,232.091),(-14.979,235.326),(-10.021,234.674)],
  [(-14.979,234.674),(-15.405,237.909),(-10.447,238.562),(-10.021,235.326)],
  [(-15.236,237.279),(-16.484,240.293),(-11.865,242.207),(-10.616,239.192)],
  [(-16.158,239.728),(-18.145,242.317),(-14.178,245.361),(-12.191,242.772)],
  [(-17.683,241.855),(-20.272,243.842),(-17.228,247.809),(-14.639,245.822)],
  [(-19.707,243.516),(-22.721,244.764),(-20.808,249.384),(-17.793,248.135)],
  [(-22.091,244.595),(-25.326,245.021),(-24.674,249.979),(-21.438,249.553)],
  [(-16.161,241.339),(-17.929,242.071),(-18.661,243.839),(-17.929,245.607),(-16.161,246.339),(-14.393,245.607),(-13.661,243.839),(-14.393,242.071)],
  [(-18.75,243.325),(-20.518,244.058),(-21.25,245.825),(-20.518,247.593),(-18.75,248.325),(-16.982,247.593),(-16.25,245.825),(-16.982,244.058)],
  [(-21.765,244.574),(-23.533,245.306),(-24.265,247.074),(-23.533,248.842),(-21.765,249.574),(-19.997,248.842),(-19.265,247.074),(-19.997,245.306)])

lib.write_gds('fig1_P04.gds')
